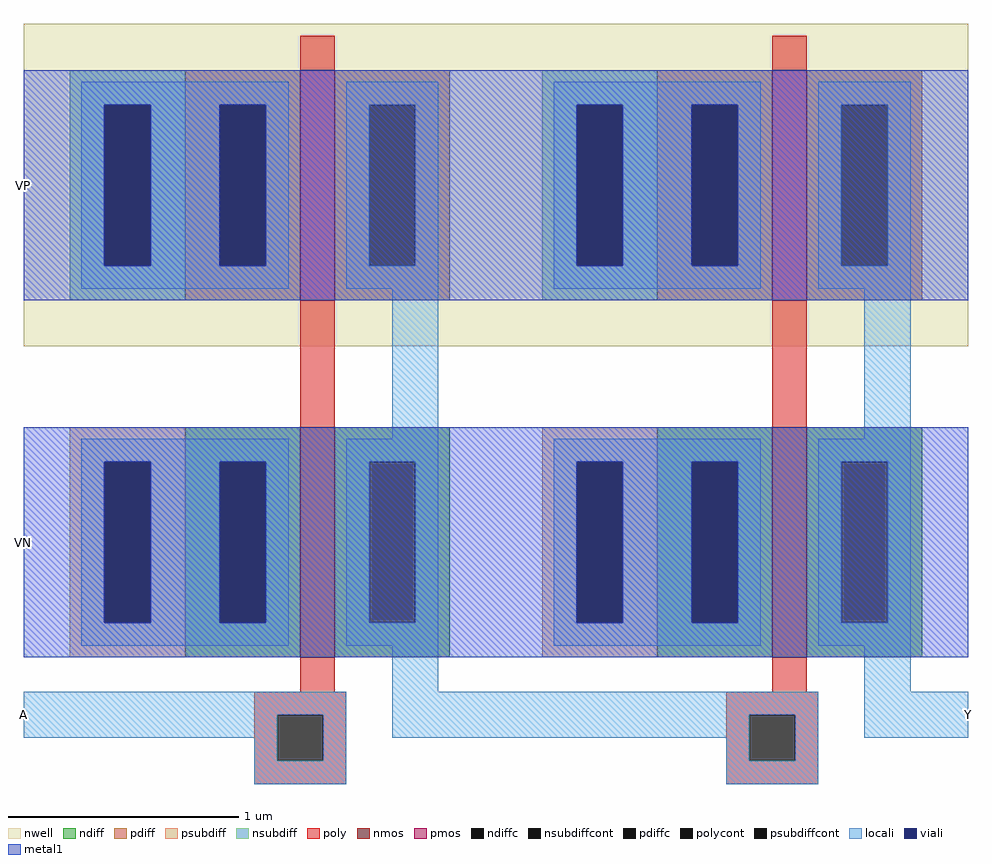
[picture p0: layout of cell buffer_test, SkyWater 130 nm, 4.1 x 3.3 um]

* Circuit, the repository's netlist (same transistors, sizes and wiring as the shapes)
* SPICE3 file created from buffer_test.ext - technology: sky130A

.subckt nmos_test A Y VP VN
X0 Y A VP VP sky130_fd_pr__pfet_01v8 ad=0.5 pd=3 as=0.5 ps=3 w=1 l=0.15
X1 Y A VN VN sky130_fd_pr__nfet_01v8 ad=0.5 pd=3 as=0.5 ps=3 w=1 l=0.15
.ends

Xnmos_test_0 A nmos_test_1/A VP VN nmos_test
Xnmos_test_1 nmos_test_1/A Y VP VN nmos_test
.end

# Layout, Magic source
magic
tech sky130A
<< locali >>
rect 0 20 20 40
rect 390 20 410 40
<< metal1 >>
rect 0 210 20 310
rect 0 55 20 155
use nmos_test  nmos_test_0
transform 1 0 120 0 1 55
box -120 -55 85 275
use nmos_test  nmos_test_1
transform 1 0 325 0 1 55
box -120 -55 85 275
<< labels >>
rlabel locali 410 30 410 30 3 Y
rlabel metal1 0 105 0 105 7 VN
rlabel metal1 0 260 0 260 7 VP
rlabel locali 0 30 0 30 7 A
<< end >>

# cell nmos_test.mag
magic
tech sky130A
<< nwell >>
rect -120 135 85 275
<< nmos >>
rect 0 0 15 100
<< pmos >>
rect 0 155 15 255
<< ndiff >>
rect -50 85 0 100
rect -50 15 -35 85
rect -15 15 0 85
rect -50 0 0 15
rect 15 85 65 100
rect 15 15 30 85
rect 50 15 65 85
rect 15 0 65 15
<< pdiff >>
rect -50 240 0 255
rect -50 170 -35 240
rect -15 170 0 240
rect -50 155 0 170
rect 15 240 65 255
rect 15 170 30 240
rect 50 170 65 240
rect 15 155 65 170
<< ndiffc >>
rect -35 15 -15 85
rect 30 15 50 85
<< pdiffc >>
rect -35 170 -15 240
rect 30 170 50 240
<< psubdiff >>
rect -100 85 -50 100
rect -100 15 -85 85
rect -65 15 -50 85
rect -100 0 -50 15
<< nsubdiff >>
rect -100 240 -50 255
rect -100 170 -85 240
rect -65 170 -50 240
rect -100 155 -50 170
<< psubdiffcont >>
rect -85 15 -65 85
<< nsubdiffcont >>
rect -85 170 -65 240
<< poly >>
rect 0 255 15 270
rect 0 100 15 155
rect 0 -15 15 0
rect -20 -25 20 -15
rect -20 -45 -10 -25
rect 10 -45 20 -25
rect -20 -55 20 -45
<< polycont >>
rect -10 -45 10 -25
<< locali >>
rect -95 240 -5 250
rect -95 170 -85 240
rect -65 170 -35 240
rect -15 170 -5 240
rect -95 160 -5 170
rect 20 240 60 250
rect 20 170 30 240
rect 50 170 60 240
rect 20 160 60 170
rect 40 95 60 160
rect -95 85 -5 95
rect -95 15 -85 85
rect -65 15 -35 85
rect -15 15 -5 85
rect -95 5 -5 15
rect 20 85 60 95
rect 20 15 30 85
rect 50 15 60 85
rect 20 5 60 15
rect 40 -15 60 5
rect -120 -25 20 -15
rect -120 -35 -10 -25
rect -20 -45 -10 -35
rect 10 -45 20 -25
rect 40 -35 85 -15
rect -20 -55 20 -45
<< viali >>
rect -85 170 -65 240
rect -35 170 -15 240
rect -85 15 -65 85
rect -35 15 -15 85
<< metal1 >>
rect -120 240 85 255
rect -120 170 -85 240
rect -65 170 -35 240
rect -15 170 85 240
rect -120 155 85 170
rect -120 85 85 100
rect -120 15 -85 85
rect -65 15 -35 85
rect -15 15 85 85
rect -120 0 85 15
<< labels >>
rlabel metal1 -120 50 -120 50 7 VN
port 4 w
rlabel locali -120 -25 -120 -25 7 A
port 1 w
rlabel locali 85 -25 85 -25 3 Y
port 2 e
rlabel metal1 -120 205 -120 205 7 VP
port 3 w
<< end >>
